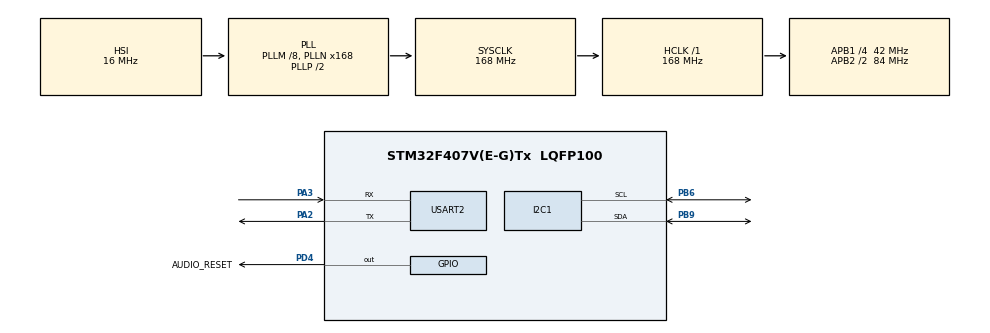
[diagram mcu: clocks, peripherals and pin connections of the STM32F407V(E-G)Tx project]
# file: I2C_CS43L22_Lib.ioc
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Mcu.Family=STM32F4
Mcu.Name=STM32F407V(E-G)Tx
Mcu.Package=LQFP100
NVIC.PriorityGroup=NVIC_PRIORITYGROUP_4
PA2.Mode=Asynchronous
PA2.Signal=USART2_TX
PA3.Mode=Asynchronous
PA3.Signal=USART2_RX
PB6.Mode=I2C
PB6.Signal=I2C1_SCL
PB9.Mode=I2C
PB9.Signal=I2C1_SDA
PD4.GPIO_Label=AUDIO_RESET
PD4.Signal=GPIO_Output
ProjectManager.HeapSize=0x200
ProjectManager.StackSize=0x400
ProjectManager.TargetToolchain=STM32CubeIDE
RCC.48MHZClocksFreq_Value=84000000
RCC.AHBFreq_Value=168000000
RCC.APB1CLKDivider=RCC_HCLK_DIV4
RCC.APB1Freq_Value=42000000
RCC.APB1TimFreq_Value=84000000
RCC.APB2CLKDivider=RCC_HCLK_DIV2
RCC.APB2Freq_Value=84000000
RCC.APB2TimFreq_Value=168000000
RCC.CortexFreq_Value=168000000
RCC.HCLKFreq_Value=168000000
RCC.HSE_VALUE=25000000
RCC.HSI_VALUE=16000000
RCC.LSE_VALUE=32768
RCC.PLLM=8
RCC.PLLN=168
RCC.SYSCLKFreq_VALUE=168000000
RCC.SYSCLKSource=RCC_SYSCLKSOURCE_PLLCLK
RCC.VCOOutputFreq_Value=336000000
USART2.VirtualMode=VM_ASYNC
board=custom

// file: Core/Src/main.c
/* USER CODE BEGIN Header */
/**
  ******************************************************************************
  * @file           : main.c
  * @brief          : Main program body
  ******************************************************************************
  * @attention
  *
  * Copyright (c) 2026 STMicroelectronics.
  * All rights reserved.
  *
  * This software is licensed under terms that can be found in the LICENSE file
  * in the root directory of this software component.
  * If no LICENSE file comes with this software, it is provided AS-IS.
  *
  ******************************************************************************
  */
/* USER CODE END Header */
#include "main.h"

/* USER CODE BEGIN Includes */
#include "cs43l22.h"
#include <stdio.h>`
/* USER CODE END Includes */

I2C_HandleTypeDef hi2c1;

UART_HandleTypeDef huart2;

/* USER CODE BEGIN PV */
CS43L22_HandleTypeDef hcs43;
/* USER CODE END PV */

void SystemClock_Config(void);
static void MX_GPIO_Init(void);
static void MX_I2C1_Init(void);
static void MX_USART2_UART_Init(void);

/* USER CODE BEGIN 0 */
int _write(int file, char *ptr, int len)
{
    HAL_UART_Transmit(&huart2, (uint8_t *)ptr, len, HAL_MAX_DELAY);
    return len;
}
/* USER CODE END 0 */

int main(void)
{

  /* MCU Configuration--------------------------------------------------------*/

  /* Reset of all peripherals, Initializes the Flash interface and the Systick. */
  HAL_Init();

  /* Configure the system clock */
  SystemClock_Config();

  /* Initialize all configured peripherals */
  MX_GPIO_Init();
  MX_I2C1_Init();
  MX_USART2_UART_Init();
  /* USER CODE BEGIN 2 */
	CS43L22_LOG("CS43L22: Releasing reset...\r\n");
	HAL_GPIO_WritePin(AUDIO_RESET_GPIO_Port, AUDIO_RESET_Pin, GPIO_PIN_SET);
	HAL_Delay(10);   // give chip time to wake up

  printf("Scanning I2C bus...\r\n");
  for(uint8_t addr = 1; addr < 128; addr++)
  {
      if(HAL_I2C_IsDeviceReady(&hi2c1, addr << 1, 1, 10) == HAL_OK)
      {
          printf("Device found at: 0x%02X\r\n", addr);
      }
  }
  printf("Scan complete.\r\n");

  hcs43.hi2c = &hi2c1;
  hcs43.address = CS43L22_I2C_ADDR;

  if(CS43L22_Init(&hcs43) != HAL_OK)
  {
      Error_Handler();
  }

  if(CS43L22_SetOutputMode(&hcs43) != HAL_OK)
  {
      Error_Handler();
  }

  if(CS43L22_SetVolume(&hcs43, 0x00) != HAL_OK)
  {
      Error_Handler();
  }
  /* USER CODE END 2 */

  /* Infinite loop */
  while (1)
  {

  }
}

void SystemClock_Config(void)
{
  RCC_OscInitTypeDef RCC_OscInitStruct = {0};
  RCC_ClkInitTypeDef RCC_ClkInitStruct = {0};

  /** Configure the main internal regulator output voltage
  */
  __HAL_RCC_PWR_CLK_ENABLE();
  __HAL_PWR_VOLTAGESCALING_CONFIG(PWR_REGULATOR_VOLTAGE_SCALE1);

  /** Initializes the RCC Oscillators according to the specified parameters
  * in the RCC_OscInitTypeDef structure.
  */
  RCC_OscInitStruct.OscillatorType = RCC_OSCILLATORTYPE_HSI;
  RCC_OscInitStruct.HSIState = RCC_HSI_ON;
  RCC_OscInitStruct.HSICalibrationValue = RCC_HSICALIBRATION_DEFAULT;
  RCC_OscInitStruct.PLL.PLLState = RCC_PLL_ON;
  RCC_OscInitStruct.PLL.PLLSource = RCC_PLLSOURCE_HSI;
  RCC_OscInitStruct.PLL.PLLM = 8;
  RCC_OscInitStruct.PLL.PLLN = 168;
  RCC_OscInitStruct.PLL.PLLP = RCC_PLLP_DIV2;
  RCC_OscInitStruct.PLL.PLLQ = 4;
  if (HAL_RCC_OscConfig(&RCC_OscInitStruct) != HAL_OK)
  {
    Error_Handler();
  }

  /** Initializes the CPU, AHB and APB buses clocks
  */
  RCC_ClkInitStruct.ClockType = RCC_CLOCKTYPE_HCLK|RCC_CLOCKTYPE_SYSCLK
                              |RCC_CLOCKTYPE_PCLK1|RCC_CLOCKTYPE_PCLK2;
  RCC_ClkInitStruct.SYSCLKSource = RCC_SYSCLKSOURCE_PLLCLK;
  RCC_ClkInitStruct.AHBCLKDivider = RCC_SYSCLK_DIV1;
  RCC_ClkInitStruct.APB1CLKDivider = RCC_HCLK_DIV4;
  RCC_ClkInitStruct.APB2CLKDivider = RCC_HCLK_DIV2;

  if (HAL_RCC_ClockConfig(&RCC_ClkInitStruct, FLASH_LATENCY_5) != HAL_OK)
  {
    Error_Handler();
  }
}

static void MX_I2C1_Init(void)
{

  hi2c1.Instance = I2C1;
  hi2c1.Init.ClockSpeed = 100000;
  hi2c1.Init.DutyCycle = I2C_DUTYCYCLE_2;
  hi2c1.Init.OwnAddress1 = 0;
  hi2c1.Init.AddressingMode = I2C_ADDRESSINGMODE_7BIT;
  hi2c1.Init.DualAddressMode = I2C_DUALADDRESS_DISABLE;
  hi2c1.Init.OwnAddress2 = 0;
  hi2c1.Init.GeneralCallMode = I2C_GENERALCALL_DISABLE;
  hi2c1.Init.NoStretchMode = I2C_NOSTRETCH_DISABLE;
  if (HAL_I2C_Init(&hi2c1) != HAL_OK)
  {
    Error_Handler();
  }

}

static void MX_USART2_UART_Init(void)
{

  huart2.Instance = USART2;
  huart2.Init.BaudRate = 115200;
  huart2.Init.WordLength = UART_WORDLENGTH_8B;
  huart2.Init.StopBits = UART_STOPBITS_1;
  huart2.Init.Parity = UART_PARITY_NONE;
  huart2.Init.Mode = UART_MODE_TX_RX;
  huart2.Init.HwFlowCtl = UART_HWCONTROL_NONE;
  huart2.Init.OverSampling = UART_OVERSAMPLING_16;
  if (HAL_UART_Init(&huart2) != HAL_OK)
  {
    Error_Handler();
  }

}

static void MX_GPIO_Init(void)
{
  GPIO_InitTypeDef GPIO_InitStruct = {0};

  /* GPIO Ports Clock Enable */
  __HAL_RCC_GPIOA_CLK_ENABLE();
  __HAL_RCC_GPIOD_CLK_ENABLE();
  __HAL_RCC_GPIOB_CLK_ENABLE();

  /*Configure GPIO pin Output Level */
  HAL_GPIO_WritePin(AUDIO_RESET_GPIO_Port, AUDIO_RESET_Pin, GPIO_PIN_RESET);

  /*Configure GPIO pin : AUDIO_RESET_Pin */
  GPIO_InitStruct.Pin = AUDIO_RESET_Pin;
  GPIO_InitStruct.Mode = GPIO_MODE_OUTPUT_PP;
  GPIO_InitStruct.Pull = GPIO_NOPULL;
  GPIO_InitStruct.Speed = GPIO_SPEED_FREQ_LOW;
  HAL_GPIO_Init(AUDIO_RESET_GPIO_Port, &GPIO_InitStruct);

}

void Error_Handler(void)
{
  __disable_irq();
  while (1)
  {
  }
}
